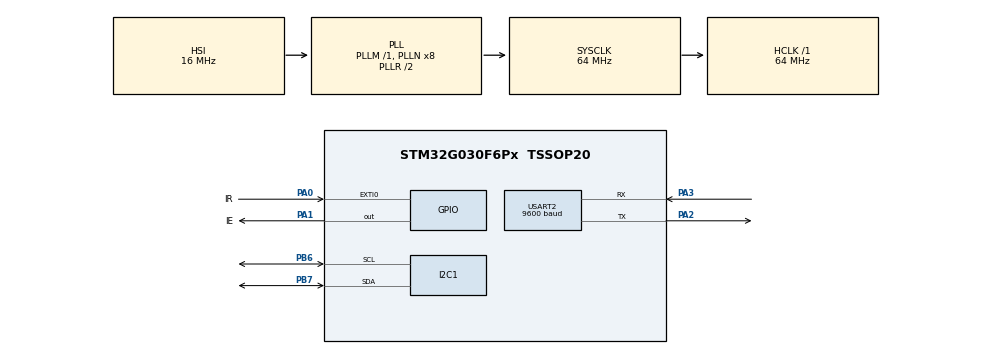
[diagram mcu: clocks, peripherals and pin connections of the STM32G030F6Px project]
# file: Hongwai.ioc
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Dma.Request0=USART2_RX
Dma.Request1=USART2_TX
Dma.USART2_RX.0.Direction=DMA_PERIPH_TO_MEMORY
Dma.USART2_RX.0.EventEnable=DISABLE
Dma.USART2_RX.0.Instance=DMA1_Channel1
Dma.USART2_RX.0.MemDataAlignment=DMA_MDATAALIGN_BYTE
Dma.USART2_RX.0.MemInc=DMA_MINC_ENABLE
Dma.USART2_RX.0.Mode=DMA_NORMAL
Dma.USART2_RX.0.PeriphDataAlignment=DMA_PDATAALIGN_BYTE
Dma.USART2_RX.0.PeriphInc=DMA_PINC_DISABLE
Dma.USART2_RX.0.Polarity=HAL_DMAMUX_REQ_GEN_RISING
Dma.USART2_RX.0.Priority=DMA_PRIORITY_HIGH
Dma.USART2_RX.0.RequestNumber=1
Dma.USART2_RX.0.SignalID=NONE
Dma.USART2_RX.0.SyncEnable=DISABLE
Dma.USART2_RX.0.SyncPolarity=HAL_DMAMUX_SYNC_NO_EVENT
Dma.USART2_RX.0.SyncRequestNumber=1
Dma.USART2_RX.0.SyncSignalID=NONE
Dma.USART2_TX.1.Direction=DMA_MEMORY_TO_PERIPH
Dma.USART2_TX.1.EventEnable=DISABLE
Dma.USART2_TX.1.Instance=DMA1_Channel2
Dma.USART2_TX.1.MemDataAlignment=DMA_MDATAALIGN_BYTE
Dma.USART2_TX.1.MemInc=DMA_MINC_ENABLE
Dma.USART2_TX.1.Mode=DMA_NORMAL
Dma.USART2_TX.1.PeriphDataAlignment=DMA_PDATAALIGN_BYTE
Dma.USART2_TX.1.PeriphInc=DMA_PINC_DISABLE
Dma.USART2_TX.1.Polarity=HAL_DMAMUX_REQ_GEN_RISING
Dma.USART2_TX.1.Priority=DMA_PRIORITY_HIGH
Dma.USART2_TX.1.RequestNumber=1
Dma.USART2_TX.1.SignalID=NONE
Dma.USART2_TX.1.SyncEnable=DISABLE
Dma.USART2_TX.1.SyncPolarity=HAL_DMAMUX_SYNC_NO_EVENT
Dma.USART2_TX.1.SyncRequestNumber=1
Dma.USART2_TX.1.SyncSignalID=NONE
I2C1.Timing=0x10707DBC
Mcu.Family=STM32G0
Mcu.Name=STM32G030F6Px
Mcu.Package=TSSOP20
NVIC.DMA1_Channel1_IRQn=true\:0\:0\:false\:false\:true\:false\:true
NVIC.DMA1_Channel2_3_IRQn=true\:0\:0\:false\:false\:true\:false\:true
NVIC.EXTI0_1_IRQn=true\:0\:0\:false\:false\:true\:true\:true
NVIC.TIM3_IRQn=true\:0\:0\:false\:false\:true\:true\:true
NVIC.USART2_IRQn=true\:0\:0\:false\:false\:true\:true\:true
PA0.GPIO_Label=IR
PA0.GPIO_ModeDefaultEXTI=GPIO_MODE_IT_FALLING
PA0.GPIO_PuPd=GPIO_PULLUP
PA0.Signal=GPXTI0
PA1.GPIO_Label=IE
PA1.GPIO_PuPd=GPIO_PULLDOWN
PA1.PinState=GPIO_PIN_SET
PA1.Signal=GPIO_Output
PA13.Mode=Serial_Wire
PA13.Signal=SYS_SWDIO
PA14-BOOT0.Mode=Serial_Wire
PA14-BOOT0.Signal=SYS_SWCLK
PA2.Mode=Asynchronous
PA2.Signal=USART2_TX
PA3.Mode=Asynchronous
PA3.Signal=USART2_RX
PB6.Mode=I2C
PB6.Signal=I2C1_SCL
PB7.Mode=I2C
PB7.Signal=I2C1_SDA
PC14-OSC32_IN\ (PC14).Mode=LSE-External-Oscillator
PC14-OSC32_IN\ (PC14).Signal=RCC_OSC32_IN
PC15-OSC32_OUT\ (PC15).Mode=LSE-External-Oscillator
PC15-OSC32_OUT\ (PC15).Signal=RCC_OSC32_OUT
ProjectManager.HeapSize=0x200
ProjectManager.StackSize=0x400
ProjectManager.TargetToolchain=MDK-ARM V5.32
RCC.ADCFreq_Value=64000000
RCC.AHBFreq_Value=64000000
RCC.CortexFreq_Value=64000000
RCC.EXTERNAL_CLOCK_VALUE=12288000
RCC.HCLKFreq_Value=64000000
RCC.HSE_VALUE=8000000
RCC.HSI_VALUE=16000000
RCC.SYSCLKFreq_VALUE=64000000
RCC.SYSCLKSource=RCC_SYSCLKSOURCE_PLLCLK
RCC.VCOOutputFreq_Value=128000000
TIM3.AutoReloadPreload=TIM_AUTORELOAD_PRELOAD_ENABLE
TIM3.Period=19999
TIM3.Prescaler=63
USART2.BaudRate=9600
USART2.VirtualMode-Asynchronous=VM_ASYNC
VP_TIM3_VS_ClockSourceINT.Mode=Internal
board=custom

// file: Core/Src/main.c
/* USER CODE BEGIN Header */
/**
  ******************************************************************************
  * @file           : main.c
  * @brief          : Main program body
  ******************************************************************************
  * @attention
  *
  * Copyright (c) 2022 STMicroelectronics.
  * All rights reserved.
  *
  * This software is licensed under terms that can be found in the LICENSE file
  * in the root directory of this software component.
  * If no LICENSE file comes with this software, it is provided AS-IS.
  *
  ******************************************************************************
  */
/* USER CODE END Header */
#include "main.h"
#include "dma.h"
#include "i2c.h"
#include "tim.h"
#include "usart.h"
#include "gpio.h"

/* USER CODE BEGIN Includes */
#include "infrared.h"
/* USER CODE END Includes */

/* USER CODE BEGIN PTD */
u16 code_16bit[10] = {0x7F80};
/*  开  亮度加  辅助光源 亮度减 色温-  色温+  分段*/
u8 code_8bit[10] = {0x01,0x12,0x1A,0x1E,0x03,0x02 ,0x06};

/* USER CODE END PTD */

void SystemClock_Config(void);

int main(void)
{
  /* USER CODE BEGIN 1 */

	u16	user_code_16bit = 0x1234;	// 初始化16位用户码

	u8 data_code_8bit = 0x66 ;		// 初始化8位数据码
	u8 i = 0;
  /* USER CODE END 1 */

  /* MCU Configuration--------------------------------------------------------*/

  /* Reset of all peripherals, Initializes the Flash interface and the Systick. */
  HAL_Init();

  /* Configure the system clock */
  SystemClock_Config();

  /* Initialize all configured peripherals */
  MX_GPIO_Init();
  MX_I2C1_Init();
  MX_DMA_Init();
  MX_USART2_UART_Init();
  MX_TIM3_Init();
  /* USER CODE BEGIN 2 */
	HAL_TIM_Base_Start_IT(&htim3);
    __HAL_UART_ENABLE_IT(&huart2,UART_IT_IDLE);
    HAL_UART_Receive_DMA(&huart2,Usart2_Rx,sizeof(Usart2_Rx));
  /* USER CODE END 2 */

  /* Infinite loop */
  /* USER CODE BEGIN WHILE */
  while (1)
  {
		// 判断是否接收到有效的NEC红外信息
		//------------------------------------------------------------------------
//		HAL_Delay(200);
//		NEC_IE_code_message(code_16bit[0],code_8bit[2]);

//						HAL_Delay(200);
//						NEC_IE_code_message(user_code_16bit,data_code_8bit);	// 红外发送：用户码 + 数据
//		HAL_Delay(500);
//		NEC_IE_code_message(code_16bit[0],code_8bit[2]);
		if(Current_bit_CNT>=34)
		{
			// 解码NEC格式红外信息
			//------------------------------
			if( ! NEC_IR_decode_message() )
			{
				// 判断数据码和数据码反码是否相反
				//-----------------------------
				if( Receive_data_code_8bit == (u8)(~Receive_data_code_opposite) )
				{
					// 避免重复保存
					//-------------
					if( user_code_16bit!=Receive_user_code_16bit || data_code_8bit!=Receive_data_code_8bit )
					{
						user_code_16bit = Receive_user_code_16bit;	// 保存用户码

						data_code_8bit  = Receive_data_code_8bit ;	// 保存数据码

						//将接收到的：用户码高字节 / 用户码低字节 / 数据码，通过串口发送
						#if USART_SEND
						//------------------------------------------------------------
						USART_SendData( USART1, user_code_16bit>>8 );
						while ( USART_GetFlagStatus(USART1, USART_FLAG_TC) == RESET );
						USART_SendData( USART1, user_code_16bit );
						while ( USART_GetFlagStatus(USART1, USART_FLAG_TC) == RESET );
						USART_SendData( USART1, data_code_8bit );
						while ( USART_GetFlagStatus(USART1, USART_FLAG_TC) == RESET );
						//------------------------------------------------------------
						#endif

//						PB_out(5) = 0;	// LED0亮一下，表示将红外码接收
//						HAL_Delay(200);
//						NEC_IE_code_message(user_code_16bit,data_code_8bit);	// 红外发送：用户码 + 数据码
//						NEC_IE_code_message(code_16bit[0],code_8bit[2]);
//						PB_out(5) = 1;
					}

					if(It_flag == 1 && user_code_16bit == 0x7F80 && uart_flag == 0)
					{
							i++;
						It_flag = 0;
						if(i%2==0)
						{
							i = 0;
							HAL_Delay(500);
//							NEC_IE_code_message(code_16bit[0],code_8bit[2]);
							NEC_IE_code_message(user_code_16bit,data_code_8bit);	// 红外发送：用户码 + 数据码
						}
					}

				}
			}

		}
		//------------------------------------------------------------------------

		// 按键发码
		#if SEND_KEY
		//------------------------------------------------------------------------------------------
		KEY_Scan_delay_JX();	// 扫描按键是否按下

		if( S_KEY_down == 0x04 )
		{
			if( F_key_down == 0 )
			{
				F_key_down = 1;	// 长按只有效一次

				     (user_code_16bit,data_code_8bit);	// 红外发送：用户码 + 数据码

				//将接收到的：用户码高字节 / 用户码低字节 / 数据码，通过串口发送
				//------------------------------------------------------------
				USART_SendData( USART1, user_code_16bit>>8 );
				while ( USART_GetFlagStatus(USART1, USART_FLAG_TC) == RESET );
				USART_SendData( USART1, user_code_16bit );
				while ( USART_GetFlagStatus(USART1, USART_FLAG_TC) == RESET );
				USART_SendData( USART1, data_code_8bit );
				while ( USART_GetFlagStatus(USART1, USART_FLAG_TC) == RESET );
				//------------------------------------------------------------
			}
		}

		else F_key_down = 0;
		#endif
		if(uart_flag == 1)
		{
			uart_flag = 0;
			switch(Usart2_Rx[1])
			{
				case 0x02:
							HAL_Delay(500);
							NEC_IE_code_message(code_16bit[0],code_8bit[0]);
					break;
				case 0x03:
							HAL_Delay(500);
							NEC_IE_code_message(code_16bit[0],code_8bit[0]);
					break;
				case 0x04:
							HAL_Delay(500);
							NEC_IE_code_message(code_16bit[0],code_8bit[1]);
					break;
				case 0x05:
							HAL_Delay(500);
							NEC_IE_code_message(code_16bit[0],code_8bit[3]);
					break;
				case 0x06:
							HAL_Delay(500);
							NEC_IE_code_message(code_16bit[0],code_8bit[2]);
					break;
				case 0x07:
							HAL_Delay(500);
							NEC_IE_code_message(code_16bit[0],code_8bit[6]);
					break;
				default:
					break;
			}

		}
    /* USER CODE END WHILE */

  }
}

void SystemClock_Config(void)
{
  RCC_OscInitTypeDef RCC_OscInitStruct = {0};
  RCC_ClkInitTypeDef RCC_ClkInitStruct = {0};

  /** Configure the main internal regulator output voltage
  */
  HAL_PWREx_ControlVoltageScaling(PWR_REGULATOR_VOLTAGE_SCALE1);
  /** Initializes the RCC Oscillators according to the specified parameters
  * in the RCC_OscInitTypeDef structure.
  */
  RCC_OscInitStruct.OscillatorType = RCC_OSCILLATORTYPE_HSI;
  RCC_OscInitStruct.HSIState = RCC_HSI_ON;
  RCC_OscInitStruct.HSIDiv = RCC_HSI_DIV1;
  RCC_OscInitStruct.HSICalibrationValue = RCC_HSICALIBRATION_DEFAULT;//64M
  RCC_OscInitStruct.PLL.PLLState = RCC_PLL_ON;
  RCC_OscInitStruct.PLL.PLLSource = RCC_PLLSOURCE_HSI;
  RCC_OscInitStruct.PLL.PLLM = RCC_PLLM_DIV1;//div 1
  RCC_OscInitStruct.PLL.PLLN = 8;//mul 8 = 64*8= 512
  RCC_OscInitStruct.PLL.PLLP = RCC_PLLP_DIV2;//div 2=256M
  RCC_OscInitStruct.PLL.PLLR = RCC_PLLR_DIV2;//div 2=256M
  if (HAL_RCC_OscConfig(&RCC_OscInitStruct) != HAL_OK)
  {
    Error_Handler();
  }
  /** Initializes the CPU, AHB and APB buses clocks
  */
  RCC_ClkInitStruct.ClockType = RCC_CLOCKTYPE_HCLK|RCC_CLOCKTYPE_SYSCLK
                              |RCC_CLOCKTYPE_PCLK1;
  RCC_ClkInitStruct.SYSCLKSource = RCC_SYSCLKSOURCE_PLLCLK;
  RCC_ClkInitStruct.AHBCLKDivider = RCC_SYSCLK_DIV1;
  RCC_ClkInitStruct.APB1CLKDivider = RCC_HCLK_DIV1;

  if (HAL_RCC_ClockConfig(&RCC_ClkInitStruct, FLASH_LATENCY_2) != HAL_OK)
  {
    Error_Handler();
  }
}

void Error_Handler(void)
{
  __disable_irq();
  while (1)
  {
  }
}
